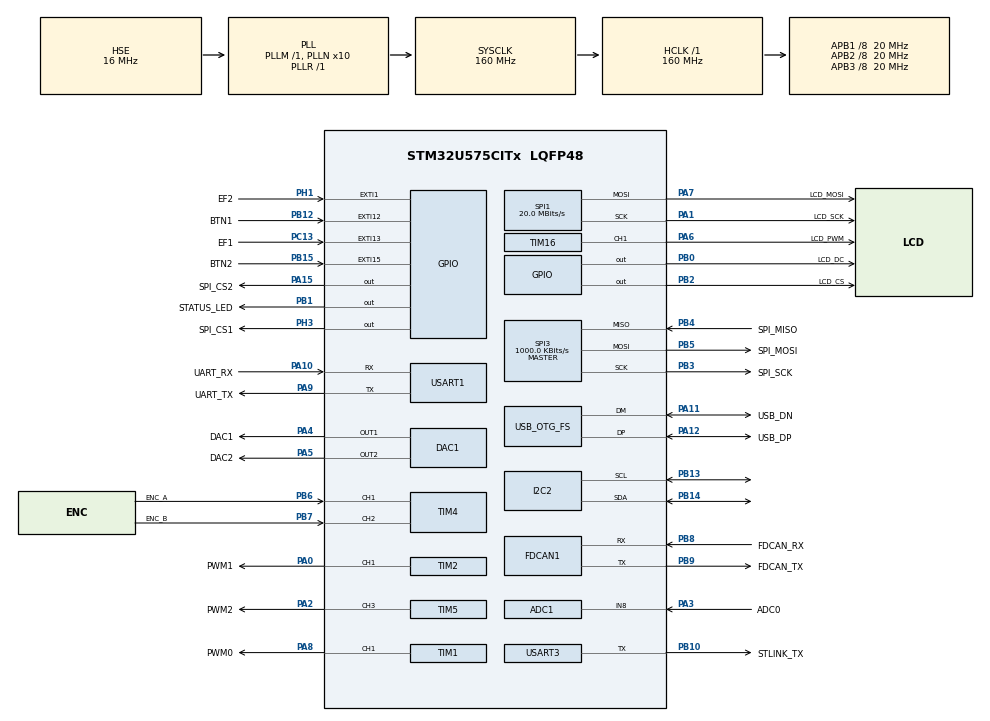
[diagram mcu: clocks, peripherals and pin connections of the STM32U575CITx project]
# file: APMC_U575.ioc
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ADC1.NbrOfConversion=1
ADC1.master=1
CORTEX_M33_NS.userName=CORTEX_M33
DAC1.DAC_Channel-DAC_OUT1=DAC_CHANNEL_1
DAC1.DAC_Channel-DAC_OUT2=DAC_CHANNEL_2
FDCAN1.CalculateBaudRateNominal=333333
FDCAN1.CalculateTimeBitNominal=3000
FDCAN1.CalculateTimeQuantumNominal=1000.0
GPDMA1.DIRECTION_GPDMACH0=DMA_MEMORY_TO_PERIPH
GPDMA1.IPHANDLE_GPDMACH0-SIMPLEREQUEST_GPDMACH0=__NULL
GPDMA1.REQUEST_GPDMACH0=GPDMA1_REQUEST_SPI3_TX
GPDMA1.SRCINC_GPDMACH0=DMA_SINC_INCREMENTED
I2C2.Timing=0x00303D5B
Mcu.Family=STM32U5
Mcu.Name=STM32U575CITx
Mcu.Package=LQFP48
Mcu.UserConstants=LvglTickTimer,$$_TIM6_IP_HANDLE_$$;LvglTaskTimer,$$_TIM7_IP_HANDLE_$$;RtcTimer,$$_RTC_IP_HANDLE_$$;LcdPwmTimer,$$_TIM16_IP_HANDLE_$$;EncoderTimer,$$_TIM4_IP_HANDLE_$$;LcdSpi,$$_SPI1_IP_HANDLE_$$;BoardSpi,$$_SPI3_IP_HANDLE_$$;Out1PwmTimer,$$_TIM2_IP_HANDLE_$$;Out2PwmTimer,$$_TIM5_IP_HANDLE_$$
NVIC.DMA2D_IRQn=true\:13\:0\:true\:false\:true\:true\:true\:true
NVIC.EXTI12_IRQn=true\:15\:0\:true\:false\:true\:true\:true\:true
NVIC.EXTI13_IRQn=true\:15\:0\:true\:false\:true\:true\:true\:true
NVIC.EXTI15_IRQn=true\:15\:0\:true\:false\:true\:true\:true\:true
NVIC.EXTI1_IRQn=true\:15\:0\:true\:false\:true\:true\:true\:true
NVIC.GPDMA1_Channel0_IRQn=true\:7\:0\:true\:false\:true\:false\:true\:true
NVIC.PriorityGroup=NVIC_PRIORITYGROUP_4
NVIC.RTC_IRQn=true\:15\:0\:true\:false\:true\:true\:true\:true
NVIC.SPI3_IRQn=true\:12\:0\:true\:false\:true\:false\:true\:true
NVIC.TIM4_IRQn=true\:15\:0\:true\:false\:true\:true\:true\:true
NVIC.TIM6_IRQn=true\:8\:0\:true\:false\:true\:true\:true\:true
NVIC.TIM7_IRQn=true\:9\:0\:true\:false\:true\:true\:true\:true
PA0.GPIO_Label=PWM1
PA0.Signal=S_TIM2_CH1
PA1.GPIO_Label=LCD_SCK
PA1.Mode=TX_Only_Simplex_Unidirect_Master
PA1.Signal=SPI1_SCK
PA10.GPIO_Label=UART_RX
PA10.Mode=Asynchronous
PA10.Signal=USART1_RX
PA11.GPIO_Label=USB_DN
PA11.Mode=Host_Only
PA11.Signal=USB_OTG_FS_DM
PA12.GPIO_Label=USB_DP
PA12.Mode=Host_Only
PA12.Signal=USB_OTG_FS_DP
PA13\ (JTMS/SWDIO).GPIO_Label=SWDIO
PA13\ (JTMS/SWDIO).Mode=Serial_Wire
PA13\ (JTMS/SWDIO).Signal=DEBUG_JTMS-SWDIO
PA14\ (JTCK/SWCLK).GPIO_Label=SWCLK
PA14\ (JTCK/SWCLK).Mode=Serial_Wire
PA14\ (JTCK/SWCLK).Signal=DEBUG_JTCK-SWCLK
PA15\ (JTDI).GPIO_Label=SPI_CS2
PA15\ (JTDI).PinState=GPIO_PIN_SET
PA15\ (JTDI).Signal=GPIO_Output
PA2.GPIO_Label=PWM2
PA2.Signal=S_TIM5_CH3
PA3.GPIO_Label=ADC0
PA3.Mode=IN8-Single-Ended
PA3.Signal=ADC1_IN8
PA4.GPIO_Label=DAC1
PA4.Signal=COMP_DAC11_group
PA5.GPIO_Label=DAC2
PA5.Signal=COMP_DAC12_group
PA6.GPIO_Label=LCD_PWM
PA6.Signal=S_TIM16_CH1
PA7.GPIO_Label=LCD_MOSI
PA7.Mode=TX_Only_Simplex_Unidirect_Master
PA7.Signal=SPI1_MOSI
PA8.GPIO_Label=PWM0
PA8.GPIO_ModeDefaultPP=GPIO_MODE_AF_OD
PA8.Signal=S_TIM1_CH1
PA9.GPIO_Label=UART_TX
PA9.Mode=Asynchronous
PA9.Signal=USART1_TX
PB0.GPIO_Label=LCD_DC
PB0.Signal=GPIO_Output
PB1.GPIO_Label=STATUS_LED
PB1.GPIO_ModeDefaultOutputPP=GPIO_MODE_OUTPUT_OD
PB1.GPIO_PuPd=GPIO_NOPULL
PB1.Signal=GPIO_Output
PB10.GPIO_Label=STLINK_TX
PB10.Mode=Half_duplex(single_wire_mode)
PB10.Signal=USART3_TX
PB12.GPIO_Label=BTN1
PB12.Signal=GPXTI12
PB13.Mode=I2C
PB13.Signal=I2C2_SCL
PB14.Mode=I2C
PB14.Signal=I2C2_SDA
PB15.GPIO_Label=BTN2
PB15.Signal=GPXTI15
PB2.GPIO_Label=LCD_CS
PB2.PinState=GPIO_PIN_SET
PB2.Signal=GPIO_Output
PB3\ (JTDO/TRACESWO).GPIO_Label=SPI_SCK
PB3\ (JTDO/TRACESWO).Mode=Full_Duplex_Master
PB3\ (JTDO/TRACESWO).Signal=SPI3_SCK
PB4\ (NJTRST).GPIO_Label=SPI_MISO
PB4\ (NJTRST).Mode=Full_Duplex_Master
PB4\ (NJTRST).Signal=SPI3_MISO
PB5.GPIO_Label=SPI_MOSI
PB5.Mode=Full_Duplex_Master
PB5.Signal=SPI3_MOSI
PB6.GPIO_Label=ENC_A
PB6.Signal=S_TIM4_CH1
PB7.GPIO_Label=ENC_B
PB7.Signal=S_TIM4_CH2
PB8.GPIO_Label=FDCAN_RX
PB8.Mode=FDCAN_Activate
PB8.Signal=FDCAN1_RX
PB9.GPIO_Label=FDCAN_TX
PB9.Mode=FDCAN_Activate
PB9.Signal=FDCAN1_TX
PC13.GPIO_Label=EF1
PC13.GPIO_ModeDefaultEXTI=GPIO_MODE_IT_FALLING
PC13.GPIO_PuPd=GPIO_PULLUP
PC13.Signal=GPXTI13
PC14-OSC32_IN\ (PC14).GPIO_Label=OCS32_A
PC14-OSC32_IN\ (PC14).Mode=LSE-External-Oscillator
PC14-OSC32_IN\ (PC14).Signal=RCC_OSC32_IN
PC15-OSC32_OUT\ (PC15).GPIO_Label=OSC32_B
PC15-OSC32_OUT\ (PC15).Mode=LSE-External-Oscillator
PC15-OSC32_OUT\ (PC15).Signal=RCC_OSC32_OUT
PH0-OSC_IN\ (PH0).GPIO_Label=OSC16
PH0-OSC_IN\ (PH0).Mode=HSE-DIG-External-Clock-Source
PH0-OSC_IN\ (PH0).Signal=RCC_OSC_IN
PH1-OSC_OUT\ (PH1).GPIO_Label=EF2
PH1-OSC_OUT\ (PH1).GPIO_ModeDefaultEXTI=GPIO_MODE_IT_FALLING
PH1-OSC_OUT\ (PH1).GPIO_PuPd=GPIO_PULLUP
PH1-OSC_OUT\ (PH1).Signal=GPXTI1
PH3-BOOT0.GPIO_Label=SPI_CS1
PH3-BOOT0.PinState=GPIO_PIN_SET
PH3-BOOT0.Signal=GPIO_Output
ProjectManager.HeapSize=0x400
ProjectManager.StackSize=0x400
ProjectManager.TargetToolchain=STM32CubeIDE
RCC.ADCCLockSelection=RCC_ADCDACCLKSOURCE_HSE
RCC.ADCFreq_Value=16000000
RCC.AHBFreq_Value=160000000
RCC.APB1CLKDivider=RCC_HCLK_DIV8
RCC.APB1Freq_Value=20000000
RCC.APB1TimFreq_Value=40000000
RCC.APB2CLKDivider=RCC_HCLK_DIV8
RCC.APB2Freq_Value=20000000
RCC.APB2TimFreq_Value=40000000
RCC.APB3CLKDivider=RCC_HCLK_DIV8
RCC.APB3Freq_Value=20000000
RCC.CortexFreq_Value=20000000
RCC.Cortex_Div=SYSTICK_CLKSOURCE_HCLK_DIV8
RCC.DACCLockSelectionVirtual=RCC_DAC1CLKSOURCE_LSE
RCC.EPOD_VALUE=16000000
RCC.HCLKFreq_Value=160000000
RCC.HSE_VALUE=16000000
RCC.HSI48_VALUE=48000000
RCC.HSI_VALUE=16000000
RCC.I2C1CLockSelection=RCC_I2C1CLKSOURCE_HSI
RCC.I2C2CLockSelection=RCC_I2C2CLKSOURCE_HSI
RCC.LSE_Drive_Capability=RCC_LSEDRIVE_MEDIUMLOW
RCC.LSIDIV_VALUE=32000
RCC.MSIClockRange=RCC_MSIRANGE_0
RCC.MSI_VALUE=48000000
RCC.PLL1Q=10
RCC.PLL1R=1
RCC.PLL2N=4
RCC.PLL2P=4
RCC.PLL2Q=4
RCC.PLL2R=4
RCC.PLL2Source=RCC_PLLSOURCE_HSI
RCC.PLL3Source=RCC_PLLSOURCE_HSI
RCC.PLLFRACN=0
RCC.PLLN=10
RCC.PLLSourceVirtual=RCC_PLLSOURCE_HSE
RCC.RTCClockSelection=RCC_RTCCLKSOURCE_LSE
RCC.SPI3CLockSelection=RCC_SPI3CLKSOURCE_HSI
RCC.SYSCLKFreq_VALUE=160000000
RCC.SYSCLKSource=RCC_SYSCLKSOURCE_PLLCLK
RCC.USART1CLockSelectionVirtual=RCC_USART1CLKSOURCE_HSI
RCC.USART3CLockSelectionVirtual=RCC_USART3CLKSOURCE_HSI
RCC.USBFreq_Value=48000000
RCC.VCOOutputFreq_Value=160000000
RTC.Alarm-Alarm\ A=RTC_ALARM_A
RTC.AlarmMaskDateWeekDay-Alarm\ A=RTC_ALARMMASK_DATEWEEKDAY
RTC.AlarmMaskHours-Alarm\ A=RTC_ALARMMASK_HOURS
RTC.AlarmMaskMinutes-Alarm\ A=RTC_ALARMMASK_MINUTES
RTC.AlarmMaskSeconds-Alarm\ A=RTC_ALARMMASK_SECONDS
RTC.AlarmSubSecondMask-Alarm\ A=RTC_ALARMSUBSECONDMASK_NONE
SH.COMP_DAC11_group.0=DAC1_OUT1,DAC_OUT1
SH.COMP_DAC12_group.0=DAC1_OUT2,DAC_OUT2
SH.S_TIM16_CH1.0=TIM16_CH1,PWM Generation1 CH1
SH.S_TIM1_CH1.0=TIM1_CH1,PWM Generation1 CH1
SH.S_TIM2_CH1.0=TIM2_CH1,PWM Generation1 CH1
SH.S_TIM4_CH1.0=TIM4_CH1,Encoder_Interface
SH.S_TIM4_CH2.0=TIM4_CH2,Encoder_Interface
SH.S_TIM5_CH3.0=TIM5_CH3,PWM Generation3 CH3
SPI1.BaudRatePrescaler=SPI_BAUDRATEPRESCALER_8
SPI1.CalculateBaudRate=20.0 MBits/s
SPI1.DataSize=SPI_DATASIZE_8BIT
SPI1.Direction=SPI_DIRECTION_2LINES_TXONLY
SPI1.Mode=SPI_MODE_MASTER
SPI1.VirtualType=VM_MASTER
SPI3.BaudRatePrescaler=SPI_BAUDRATEPRESCALER_16
SPI3.CLKPhase=SPI_PHASE_1EDGE
SPI3.CalculateBaudRate=1000.0 KBits/s
SPI3.Direction=SPI_DIRECTION_2LINES
SPI3.Mode=SPI_MODE_MASTER
SPI3.NSSPMode=SPI_NSS_PULSE_DISABLE
SPI3.VirtualType=VM_MASTER
TIM1.Channel-PWM\ Generation1\ CH1=TIM_CHANNEL_1
TIM1.OCPolarity_1=TIM_OCPOLARITY_LOW
TIM1.Prescaler=16000
TIM16.Channel=TIM_CHANNEL_1
TIM2.Channel-PWM\ Generation1\ CH1=TIM_CHANNEL_1
TIM4.EncoderMode=TIM_ENCODERMODE_X1_TI1
TIM4.IC1Filter=15
TIM4.IC2Filter=15
TIM5.Channel-PWM\ Generation3\ CH3=TIM_CHANNEL_3
TIM6.PeriodNoDither=100
TIM6.Prescaler=1600
TIM7.PeriodNoDither=100
TIM7.Prescaler=1600
USART1.VirtualMode-Asynchronous=VM_ASYNC
USART3.Mode=MODE_TX
USART3.VirtualMode-Half_duplex(single_wire_mode)=VM_ASYNC
USB_OTG_FS.VirtualMode=Host_Only
USB_OTG_FS.phy_itface=HCD_PHY_EMBEDDED
VP_DCACHE1_VS_DCACHE.Mode=DCACHE_Activate
VP_DMA2D_VS_DMA2D.Mode=DMA2D_Activate
VP_GPDMA1_VS_GPDMACH0.Mode=SIMPLEREQUEST_GPDMACH0
VP_ICACHE_VS_ICACHE.Mode=DefaultMode
VP_LPBAMQUEUE_VS_QUEUE.Mode=QUEUEMODE
VP_LPBAM_VS_SIG1.Mode=SmartRun
VP_LPBAM_VS_SIG4.Mode=LPDMA1
VP_MEMORYMAP_VS_MEMORYMAP.Mode=CurAppReg
VP_PWR_VS_SECSignals.Mode=Security/Privilege
VP_PWR_Vdda.Mode=isolationVdda
VP_RTC_VS_RTC_Activate.Mode=RTC_Enabled
VP_RTC_VS_RTC_Alarm_A_Intern.Mode=Alarm A
VP_RTC_VS_RTC_Calendar.Mode=RTC_Calendar
VP_TIM16_VS_ClockSourceINT.Mode=Enable_Timer
VP_TIM6_VS_ClockSourceINT.Mode=Enable_Timer
VP_TIM7_VS_ClockSourceINT.Mode=Enable_Timer
board=custom

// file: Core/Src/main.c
/* USER CODE BEGIN Header */
/**
  ******************************************************************************
  * @file           : main.c
  * @brief          : Main program body
  ******************************************************************************
  * @attention
  *
  * Copyright (c) 2026 STMicroelectronics.
  * All rights reserved.
  *
  * This software is licensed under terms that can be found in the LICENSE file
  * in the root directory of this software component.
  * If no LICENSE file comes with this software, it is provided AS-IS.
  *
  ******************************************************************************
  */
/* USER CODE END Header */
#include "main.h"

/* USER CODE BEGIN Includes */
#include "stdio.h"
#include "terminal_colors.h"
#include "master.h"
/* USER CODE END Includes */

ADC_HandleTypeDef hadc1;

DAC_HandleTypeDef hdac1;

DCACHE_HandleTypeDef hdcache1;

DMA2D_HandleTypeDef hdma2d;

FDCAN_HandleTypeDef hfdcan1;

I2C_HandleTypeDef hi2c2;

RTC_HandleTypeDef hrtc;

SPI_HandleTypeDef hspi1;
SPI_HandleTypeDef hspi3;
DMA_HandleTypeDef handle_GPDMA1_Channel0;

TIM_HandleTypeDef htim1;
TIM_HandleTypeDef htim2;
TIM_HandleTypeDef htim4;
TIM_HandleTypeDef htim5;
TIM_HandleTypeDef htim6;
TIM_HandleTypeDef htim7;
TIM_HandleTypeDef htim16;

UART_HandleTypeDef huart1;
UART_HandleTypeDef huart3;

HCD_HandleTypeDef hhcd_USB_OTG_FS;

void SystemClock_Config(void);
static void MX_GPIO_Init(void);
static void MX_GPDMA1_Init(void);
static void MX_FDCAN1_Init(void);
static void MX_USART1_UART_Init(void);
static void MX_USB_OTG_FS_HCD_Init(void);
static void MX_TIM5_Init(void);
static void MX_SPI3_Init(void);
static void MX_ICACHE_Init(void);
static void MX_RTC_Init(void);
static void MX_DAC1_Init(void);
static void MX_ADC1_Init(void);
static void MX_I2C2_Init(void);
static void MX_SPI1_Init(void);
static void MX_TIM2_Init(void);
static void MX_TIM4_Init(void);
static void MX_TIM16_Init(void);
static void MX_USART3_UART_Init(void);
static void MX_DCACHE1_Init(void);
static void MX_DMA2D_Init(void);
static void MX_TIM1_Init(void);
static void MX_TIM6_Init(void);
static void MX_TIM7_Init(void);

/* USER CODE BEGIN 0 */
#ifdef __GNUC__
#define PUTCHAR_PROTOTYPE int __io_putchar(int ch)
#else
#define PUTCHAR_PROTOTYPE int fputc(int ch, FILE *f)
#endif

PUTCHAR_PROTOTYPE {
	HAL_StatusTypeDef status = HAL_UART_Transmit(&huart3, (uint8_t *)&ch, 1, HAL_MAX_DELAY);
  if (status != HAL_OK) {
    printf("\n");
  }
	return ch;
}
/* USER CODE END 0 */

int main(void)
{

  /* USER CODE BEGIN 1 */
  PreInit();
  /* USER CODE END 1 */

  /* MCU Configuration--------------------------------------------------------*/

  /* Reset of all peripherals, Initializes the Flash interface and the Systick. */
  HAL_Init();

  /* USER CODE BEGIN Init */
  Init();
  /* USER CODE END Init */

  /* Configure the system clock */
  SystemClock_Config();

  /* USER CODE BEGIN SysInit */
  SysInit();
  /* USER CODE END SysInit */

  /* Initialize all configured peripherals */
  MX_GPIO_Init();
  MX_GPDMA1_Init();
  MX_FDCAN1_Init();
  MX_USART1_UART_Init();
  MX_USB_OTG_FS_HCD_Init();
  MX_TIM5_Init();
  MX_SPI3_Init();
  MX_ICACHE_Init();
  MX_RTC_Init();
  MX_DAC1_Init();
  MX_ADC1_Init();
  MX_I2C2_Init();
  MX_SPI1_Init();
  MX_TIM2_Init();
  MX_TIM4_Init();
  MX_TIM16_Init();
  MX_USART3_UART_Init();
  MX_DCACHE1_Init();
  MX_DMA2D_Init();
  MX_TIM1_Init();
  MX_TIM6_Init();
  MX_TIM7_Init();
  /* USER CODE BEGIN 2 */
  PostInit();
  /* USER CODE END 2 */

  /* Infinite loop */
  /* USER CODE BEGIN WHILE */
  while (1)
  {
    MainLoop();
    /* USER CODE END WHILE */

  }
}

void SystemClock_Config(void)
{
  RCC_OscInitTypeDef RCC_OscInitStruct = {0};
  RCC_ClkInitTypeDef RCC_ClkInitStruct = {0};

  /** Configure the main internal regulator output voltage
  */
  if (HAL_PWREx_ControlVoltageScaling(PWR_REGULATOR_VOLTAGE_SCALE1) != HAL_OK)
  {
    Error_Handler();
  }

  /** Configure LSE Drive Capability
  */
  HAL_PWR_EnableBkUpAccess();
  __HAL_RCC_LSEDRIVE_CONFIG(RCC_LSEDRIVE_MEDIUMLOW);

  /** Initializes the CPU, AHB and APB buses clocks
  */
  RCC_OscInitStruct.OscillatorType = RCC_OSCILLATORTYPE_HSI48|RCC_OSCILLATORTYPE_HSI
                              |RCC_OSCILLATORTYPE_HSE|RCC_OSCILLATORTYPE_LSE;
  RCC_OscInitStruct.HSEState = RCC_HSE_BYPASS_DIGITAL;
  RCC_OscInitStruct.LSEState = RCC_LSE_ON;
  RCC_OscInitStruct.HSIState = RCC_HSI_ON;
  RCC_OscInitStruct.HSI48State = RCC_HSI48_ON;
  RCC_OscInitStruct.HSICalibrationValue = RCC_HSICALIBRATION_DEFAULT;
  RCC_OscInitStruct.PLL.PLLState = RCC_PLL_ON;
  RCC_OscInitStruct.PLL.PLLSource = RCC_PLLSOURCE_HSE;
  RCC_OscInitStruct.PLL.PLLMBOOST = RCC_PLLMBOOST_DIV1;
  RCC_OscInitStruct.PLL.PLLM = 1;
  RCC_OscInitStruct.PLL.PLLN = 10;
  RCC_OscInitStruct.PLL.PLLP = 2;
  RCC_OscInitStruct.PLL.PLLQ = 10;
  RCC_OscInitStruct.PLL.PLLR = 1;
  RCC_OscInitStruct.PLL.PLLRGE = RCC_PLLVCIRANGE_1;
  RCC_OscInitStruct.PLL.PLLFRACN = 0;
  if (HAL_RCC_OscConfig(&RCC_OscInitStruct) != HAL_OK)
  {
    Error_Handler();
  }

  /** Initializes the CPU, AHB and APB buses clocks
  */
  RCC_ClkInitStruct.ClockType = RCC_CLOCKTYPE_HCLK|RCC_CLOCKTYPE_SYSCLK
                              |RCC_CLOCKTYPE_PCLK1|RCC_CLOCKTYPE_PCLK2
                              |RCC_CLOCKTYPE_PCLK3;
  RCC_ClkInitStruct.SYSCLKSource = RCC_SYSCLKSOURCE_PLLCLK;
  RCC_ClkInitStruct.AHBCLKDivider = RCC_SYSCLK_DIV1;
  RCC_ClkInitStruct.APB1CLKDivider = RCC_HCLK_DIV8;
  RCC_ClkInitStruct.APB2CLKDivider = RCC_HCLK_DIV8;
  RCC_ClkInitStruct.APB3CLKDivider = RCC_HCLK_DIV8;

  if (HAL_RCC_ClockConfig(&RCC_ClkInitStruct, FLASH_LATENCY_4) != HAL_OK)
  {
    Error_Handler();
  }
}

static void MX_ADC1_Init(void)
{

  /** Common config
  */
  hadc1.Instance = ADC1;
  hadc1.Init.ClockPrescaler = ADC_CLOCK_ASYNC_DIV1;
  hadc1.Init.Resolution = ADC_RESOLUTION_14B;
  hadc1.Init.GainCompensation = 0;
  hadc1.Init.ScanConvMode = ADC_SCAN_DISABLE;
  hadc1.Init.EOCSelection = ADC_EOC_SINGLE_CONV;
  hadc1.Init.LowPowerAutoWait = DISABLE;
  hadc1.Init.ContinuousConvMode = DISABLE;
  hadc1.Init.NbrOfConversion = 1;
  hadc1.Init.DiscontinuousConvMode = DISABLE;
  hadc1.Init.DMAContinuousRequests = DISABLE;
  hadc1.Init.TriggerFrequencyMode = ADC_TRIGGER_FREQ_HIGH;
  hadc1.Init.Overrun = ADC_OVR_DATA_PRESERVED;
  hadc1.Init.LeftBitShift = ADC_LEFTBITSHIFT_NONE;
  hadc1.Init.ConversionDataManagement = ADC_CONVERSIONDATA_DR;
  hadc1.Init.OversamplingMode = DISABLE;
  if (HAL_ADC_Init(&hadc1) != HAL_OK)
  {
    Error_Handler();
  }

}

static void MX_DAC1_Init(void)
{

  DAC_ChannelConfTypeDef sConfig = {0};
  DAC_AutonomousModeConfTypeDef sAutonomousMode = {0};

  /** DAC Initialization
  */
  hdac1.Instance = DAC1;
  if (HAL_DAC_Init(&hdac1) != HAL_OK)
  {
    Error_Handler();
  }

  /** DAC channel OUT1 config
  */
  sConfig.DAC_HighFrequency = DAC_HIGH_FREQUENCY_INTERFACE_MODE_DISABLE;
  sConfig.DAC_DMADoubleDataMode = DISABLE;
  sConfig.DAC_SignedFormat = DISABLE;
  sConfig.DAC_SampleAndHold = DAC_SAMPLEANDHOLD_DISABLE;
  sConfig.DAC_Trigger = DAC_TRIGGER_NONE;
  sConfig.DAC_OutputBuffer = DAC_OUTPUTBUFFER_DISABLE;
  sConfig.DAC_ConnectOnChipPeripheral = DAC_CHIPCONNECT_EXTERNAL;
  sConfig.DAC_UserTrimming = DAC_TRIMMING_FACTORY;
  if (HAL_DAC_ConfigChannel(&hdac1, &sConfig, DAC_CHANNEL_1) != HAL_OK)
  {
    Error_Handler();
  }

  /** Configure Autonomous Mode
  */
  sAutonomousMode.AutonomousModeState = DAC_AUTONOMOUS_MODE_DISABLE;
  if (HAL_DACEx_SetConfigAutonomousMode(&hdac1, &sAutonomousMode) != HAL_OK)
  {
    Error_Handler();
  }

  /** DAC channel OUT2 config
  */
  if (HAL_DAC_ConfigChannel(&hdac1, &sConfig, DAC_CHANNEL_2) != HAL_OK)
  {
    Error_Handler();
  }

}

static void MX_DCACHE1_Init(void)
{

  hdcache1.Instance = DCACHE1;
  hdcache1.Init.ReadBurstType = DCACHE_READ_BURST_WRAP;
  if (HAL_DCACHE_Init(&hdcache1) != HAL_OK)
  {
    Error_Handler();
  }

}

static void MX_DMA2D_Init(void)
{

  hdma2d.Instance = DMA2D;
  hdma2d.Init.Mode = DMA2D_M2M;
  hdma2d.Init.ColorMode = DMA2D_OUTPUT_ARGB8888;
  hdma2d.Init.OutputOffset = 0;
  hdma2d.Init.BytesSwap = DMA2D_BYTES_REGULAR;
  hdma2d.Init.LineOffsetMode = DMA2D_LOM_PIXELS;
  hdma2d.LayerCfg[1].InputOffset = 0;
  hdma2d.LayerCfg[1].InputColorMode = DMA2D_INPUT_ARGB8888;
  hdma2d.LayerCfg[1].AlphaMode = DMA2D_NO_MODIF_ALPHA;
  hdma2d.LayerCfg[1].InputAlpha = 0;
  hdma2d.LayerCfg[1].AlphaInverted = DMA2D_REGULAR_ALPHA;
  hdma2d.LayerCfg[1].RedBlueSwap = DMA2D_RB_REGULAR;
  if (HAL_DMA2D_Init(&hdma2d) != HAL_OK)
  {
    Error_Handler();
  }
  if (HAL_DMA2D_ConfigLayer(&hdma2d, 1) != HAL_OK)
  {
    Error_Handler();
  }

}

static void MX_FDCAN1_Init(void)
{

  hfdcan1.Instance = FDCAN1;
  hfdcan1.Init.ClockDivider = FDCAN_CLOCK_DIV1;
  hfdcan1.Init.FrameFormat = FDCAN_FRAME_CLASSIC;
  hfdcan1.Init.Mode = FDCAN_MODE_NORMAL;
  hfdcan1.Init.AutoRetransmission = DISABLE;
  hfdcan1.Init.TransmitPause = DISABLE;
  hfdcan1.Init.ProtocolException = DISABLE;
  hfdcan1.Init.NominalPrescaler = 16;
  hfdcan1.Init.NominalSyncJumpWidth = 1;
  hfdcan1.Init.NominalTimeSeg1 = 1;
  hfdcan1.Init.NominalTimeSeg2 = 1;
  hfdcan1.Init.DataPrescaler = 1;
  hfdcan1.Init.DataSyncJumpWidth = 1;
  hfdcan1.Init.DataTimeSeg1 = 1;
  hfdcan1.Init.DataTimeSeg2 = 1;
  hfdcan1.Init.StdFiltersNbr = 0;
  hfdcan1.Init.ExtFiltersNbr = 0;
  hfdcan1.Init.TxFifoQueueMode = FDCAN_TX_FIFO_OPERATION;
  if (HAL_FDCAN_Init(&hfdcan1) != HAL_OK)
  {
    Error_Handler();
  }

}

static void MX_GPDMA1_Init(void)
{

  /* Peripheral clock enable */
  __HAL_RCC_GPDMA1_CLK_ENABLE();

  /* GPDMA1 interrupt Init */
    HAL_NVIC_SetPriority(GPDMA1_Channel0_IRQn, 7, 0);
    HAL_NVIC_EnableIRQ(GPDMA1_Channel0_IRQn);

}

static void MX_I2C2_Init(void)
{

  hi2c2.Instance = I2C2;
  hi2c2.Init.Timing = 0x00303D5B;
  hi2c2.Init.OwnAddress1 = 0;
  hi2c2.Init.AddressingMode = I2C_ADDRESSINGMODE_7BIT;
  hi2c2.Init.DualAddressMode = I2C_DUALADDRESS_DISABLE;
  hi2c2.Init.OwnAddress2 = 0;
  hi2c2.Init.OwnAddress2Masks = I2C_OA2_NOMASK;
  hi2c2.Init.GeneralCallMode = I2C_GENERALCALL_DISABLE;
  hi2c2.Init.NoStretchMode = I2C_NOSTRETCH_DISABLE;
  if (HAL_I2C_Init(&hi2c2) != HAL_OK)
  {
    Error_Handler();
  }

  /** Configure Analogue filter
  */
  if (HAL_I2CEx_ConfigAnalogFilter(&hi2c2, I2C_ANALOGFILTER_ENABLE) != HAL_OK)
  {
    Error_Handler();
  }

  /** Configure Digital filter
  */
  if (HAL_I2CEx_ConfigDigitalFilter(&hi2c2, 0) != HAL_OK)
  {
    Error_Handler();
  }

}

static void MX_ICACHE_Init(void)
{

  /** Enable instruction cache (default 2-ways set associative cache)
  */
  if (HAL_ICACHE_Enable() != HAL_OK)
  {
    Error_Handler();
  }

}

static void MX_RTC_Init(void)
{

  RTC_PrivilegeStateTypeDef privilegeState = {0};
  RTC_TimeTypeDef sTime = {0};
  RTC_DateTypeDef sDate = {0};
  RTC_AlarmTypeDef sAlarm = {0};

  /** Initialize RTC Only
  */
  hrtc.Instance = RTC;
  hrtc.Init.HourFormat = RTC_HOURFORMAT_24;
  hrtc.Init.AsynchPrediv = 127;
  hrtc.Init.SynchPrediv = 255;
  hrtc.Init.OutPut = RTC_OUTPUT_DISABLE;
  hrtc.Init.OutPutRemap = RTC_OUTPUT_REMAP_NONE;
  hrtc.Init.OutPutPolarity = RTC_OUTPUT_POLARITY_HIGH;
  hrtc.Init.OutPutType = RTC_OUTPUT_TYPE_OPENDRAIN;
  hrtc.Init.OutPutPullUp = RTC_OUTPUT_PULLUP_NONE;
  hrtc.Init.BinMode = RTC_BINARY_NONE;
  if (HAL_RTC_Init(&hrtc) != HAL_OK)
  {
    Error_Handler();
  }
  privilegeState.rtcPrivilegeFull = RTC_PRIVILEGE_FULL_NO;
  privilegeState.backupRegisterPrivZone = RTC_PRIVILEGE_BKUP_ZONE_NONE;
  privilegeState.backupRegisterStartZone2 = RTC_BKP_DR0;
  privilegeState.backupRegisterStartZone3 = RTC_BKP_DR0;
  if (HAL_RTCEx_PrivilegeModeSet(&hrtc, &privilegeState) != HAL_OK)
  {
    Error_Handler();
  }

  /* USER CODE BEGIN Check_RTC_BKUP */
 goto skip_date_time_set;
  /* USER CODE END Check_RTC_BKUP */

  /** Initialize RTC and set the Time and Date
  */
  sTime.Hours = 0x0;
  sTime.Minutes = 0x0;
  sTime.Seconds = 0x0;
  sTime.DayLightSaving = RTC_DAYLIGHTSAVING_NONE;
  sTime.StoreOperation = RTC_STOREOPERATION_RESET;
  if (HAL_RTC_SetTime(&hrtc, &sTime, RTC_FORMAT_BCD) != HAL_OK)
  {
    Error_Handler();
  }
  sDate.WeekDay = RTC_WEEKDAY_MONDAY;
  sDate.Month = RTC_MONTH_JANUARY;
  sDate.Date = 0x1;
  sDate.Year = 0x0;

  if (HAL_RTC_SetDate(&hrtc, &sDate, RTC_FORMAT_BCD) != HAL_OK)
  {
    Error_Handler();
  }
  skip_date_time_set:
  /** Enable the Alarm A
  */
  sAlarm.AlarmTime.Hours = 0x0;
  sAlarm.AlarmTime.Minutes = 0x0;
  sAlarm.AlarmTime.Seconds = 0x0;
  sAlarm.AlarmTime.SubSeconds = 0x0;
  sAlarm.AlarmMask = RTC_ALARMMASK_ALL;
  sAlarm.AlarmSubSecondMask = RTC_ALARMSUBSECONDMASK_NONE;
  sAlarm.AlarmDateWeekDaySel = RTC_ALARMDATEWEEKDAYSEL_DATE;
  sAlarm.AlarmDateWeekDay = 0x1;
  sAlarm.Alarm = RTC_ALARM_A;
  if (HAL_RTC_SetAlarm_IT(&hrtc, &sAlarm, RTC_FORMAT_BCD) != HAL_OK)
  {
    Error_Handler();
  }

}

static void MX_SPI1_Init(void)
{

  SPI_AutonomousModeConfTypeDef HAL_SPI_AutonomousMode_Cfg_Struct = {0};

  /* SPI1 parameter configuration*/
  hspi1.Instance = SPI1;
  hspi1.Init.Mode = SPI_MODE_MASTER;
  hspi1.Init.Direction = SPI_DIRECTION_2LINES_TXONLY;
  hspi1.Init.DataSize = SPI_DATASIZE_8BIT;
  hspi1.Init.CLKPolarity = SPI_POLARITY_LOW;
  hspi1.Init.CLKPhase = SPI_PHASE_1EDGE;
  hspi1.Init.NSS = SPI_NSS_SOFT;
  hspi1.Init.BaudRatePrescaler = SPI_BAUDRATEPRESCALER_8;
  hspi1.Init.FirstBit = SPI_FIRSTBIT_MSB;
  hspi1.Init.TIMode = SPI_TIMODE_DISABLE;
  hspi1.Init.CRCCalculation = SPI_CRCCALCULATION_DISABLE;
  hspi1.Init.CRCPolynomial = 0x7;
  hspi1.Init.NSSPMode = SPI_NSS_PULSE_ENABLE;
  hspi1.Init.NSSPolarity = SPI_NSS_POLARITY_LOW;
  hspi1.Init.FifoThreshold = SPI_FIFO_THRESHOLD_01DATA;
  hspi1.Init.MasterSSIdleness = SPI_MASTER_SS_IDLENESS_00CYCLE;
  hspi1.Init.MasterInterDataIdleness = SPI_MASTER_INTERDATA_IDLENESS_00CYCLE;
  hspi1.Init.MasterReceiverAutoSusp = SPI_MASTER_RX_AUTOSUSP_DISABLE;
  hspi1.Init.MasterKeepIOState = SPI_MASTER_KEEP_IO_STATE_DISABLE;
  hspi1.Init.IOSwap = SPI_IO_SWAP_DISABLE;
  hspi1.Init.ReadyMasterManagement = SPI_RDY_MASTER_MANAGEMENT_INTERNALLY;
  hspi1.Init.ReadyPolarity = SPI_RDY_POLARITY_HIGH;
  if (HAL_SPI_Init(&hspi1) != HAL_OK)
  {
    Error_Handler();
  }
  HAL_SPI_AutonomousMode_Cfg_Struct.TriggerState = SPI_AUTO_MODE_DISABLE;
  HAL_SPI_AutonomousMode_Cfg_Struct.TriggerSelection = SPI_GRP1_GPDMA_CH0_TCF_TRG;
  HAL_SPI_AutonomousMode_Cfg_Struct.TriggerPolarity = SPI_TRIG_POLARITY_RISING;
  if (HAL_SPIEx_SetConfigAutonomousMode(&hspi1, &HAL_SPI_AutonomousMode_Cfg_Struct) != HAL_OK)
  {
    Error_Handler();
  }

}

static void MX_SPI3_Init(void)
{

  SPI_AutonomousModeConfTypeDef HAL_SPI_AutonomousMode_Cfg_Struct = {0};

  /* SPI3 parameter configuration*/
  hspi3.Instance = SPI3;
  hspi3.Init.Mode = SPI_MODE_MASTER;
  hspi3.Init.Direction = SPI_DIRECTION_2LINES;
  hspi3.Init.DataSize = SPI_DATASIZE_8BIT;
  hspi3.Init.CLKPolarity = SPI_POLARITY_LOW;
  hspi3.Init.CLKPhase = SPI_PHASE_1EDGE;
  hspi3.Init.NSS = SPI_NSS_SOFT;
  hspi3.Init.BaudRatePrescaler = SPI_BAUDRATEPRESCALER_16;
  hspi3.Init.FirstBit = SPI_FIRSTBIT_MSB;
  hspi3.Init.TIMode = SPI_TIMODE_DISABLE;
  hspi3.Init.CRCCalculation = SPI_CRCCALCULATION_DISABLE;
  hspi3.Init.CRCPolynomial = 0x7;
  hspi3.Init.NSSPMode = SPI_NSS_PULSE_DISABLE;
  hspi3.Init.NSSPolarity = SPI_NSS_POLARITY_LOW;
  hspi3.Init.FifoThreshold = SPI_FIFO_THRESHOLD_01DATA;
  hspi3.Init.MasterSSIdleness = SPI_MASTER_SS_IDLENESS_00CYCLE;
  hspi3.Init.MasterInterDataIdleness = SPI_MASTER_INTERDATA_IDLENESS_00CYCLE;
  hspi3.Init.MasterReceiverAutoSusp = SPI_MASTER_RX_AUTOSUSP_DISABLE;
  hspi3.Init.MasterKeepIOState = SPI_MASTER_KEEP_IO_STATE_DISABLE;
  hspi3.Init.IOSwap = SPI_IO_SWAP_DISABLE;
  hspi3.Init.ReadyMasterManagement = SPI_RDY_MASTER_MANAGEMENT_INTERNALLY;
  hspi3.Init.ReadyPolarity = SPI_RDY_POLARITY_HIGH;
  if (HAL_SPI_Init(&hspi3) != HAL_OK)
  {
    Error_Handler();
  }
  HAL_SPI_AutonomousMode_Cfg_Struct.TriggerState = SPI_AUTO_MODE_DISABLE;
  HAL_SPI_AutonomousMode_Cfg_Struct.TriggerSelection = SPI_GRP2_LPDMA_CH0_TCF_TRG;
  HAL_SPI_AutonomousMode_Cfg_Struct.TriggerPolarity = SPI_TRIG_POLARITY_RISING;
  if (HAL_SPIEx_SetConfigAutonomousMode(&hspi3, &HAL_SPI_AutonomousMode_Cfg_Struct) != HAL_OK)
  {
    Error_Handler();
  }

}

static void MX_TIM1_Init(void)
{

  TIM_MasterConfigTypeDef sMasterConfig = {0};
  TIM_OC_InitTypeDef sConfigOC = {0};
  TIM_BreakDeadTimeConfigTypeDef sBreakDeadTimeConfig = {0};

  htim1.Instance = TIM1;
  htim1.Init.Prescaler = 16000;
  htim1.Init.CounterMode = TIM_COUNTERMODE_UP;
  htim1.Init.Period = 65535;
  htim1.Init.ClockDivision = TIM_CLOCKDIVISION_DIV1;
  htim1.Init.RepetitionCounter = 0;
  htim1.Init.AutoReloadPreload = TIM_AUTORELOAD_PRELOAD_DISABLE;
  if (HAL_TIM_PWM_Init(&htim1) != HAL_OK)
  {
    Error_Handler();
  }
  sMasterConfig.MasterOutputTrigger = TIM_TRGO_RESET;
  sMasterConfig.MasterOutputTrigger2 = TIM_TRGO2_RESET;
  sMasterConfig.MasterSlaveMode = TIM_MASTERSLAVEMODE_DISABLE;
  if (HAL_TIMEx_MasterConfigSynchronization(&htim1, &sMasterConfig) != HAL_OK)
  {
    Error_Handler();
  }
  sConfigOC.OCMode = TIM_OCMODE_PWM1;
  sConfigOC.Pulse = 0;
  sConfigOC.OCPolarity = TIM_OCPOLARITY_LOW;
  sConfigOC.OCNPolarity = TIM_OCNPOLARITY_HIGH;
  sConfigOC.OCFastMode = TIM_OCFAST_DISABLE;
  sConfigOC.OCIdleState = TIM_OCIDLESTATE_RESET;
  sConfigOC.OCNIdleState = TIM_OCNIDLESTATE_RESET;
  if (HAL_TIM_PWM_ConfigChannel(&htim1, &sConfigOC, TIM_CHANNEL_1) != HAL_OK)
  {
    Error_Handler();
  }
  sBreakDeadTimeConfig.OffStateRunMode = TIM_OSSR_DISABLE;
  sBreakDeadTimeConfig.OffStateIDLEMode = TIM_OSSI_DISABLE;
  sBreakDeadTimeConfig.LockLevel = TIM_LOCKLEVEL_OFF;
  sBreakDeadTimeConfig.DeadTime = 0;
  sBreakDeadTimeConfig.BreakState = TIM_BREAK_DISABLE;
  sBreakDeadTimeConfig.BreakPolarity = TIM_BREAKPOLARITY_HIGH;
  sBreakDeadTimeConfig.BreakFilter = 0;
  sBreakDeadTimeConfig.BreakAFMode = TIM_BREAK_AFMODE_INPUT;
  sBreakDeadTimeConfig.Break2State = TIM_BREAK2_DISABLE;
  sBreakDeadTimeConfig.Break2Polarity = TIM_BREAK2POLARITY_HIGH;
  sBreakDeadTimeConfig.Break2Filter = 0;
  sBreakDeadTimeConfig.Break2AFMode = TIM_BREAK_AFMODE_INPUT;
  sBreakDeadTimeConfig.AutomaticOutput = TIM_AUTOMATICOUTPUT_DISABLE;
  if (HAL_TIMEx_ConfigBreakDeadTime(&htim1, &sBreakDeadTimeConfig) != HAL_OK)
  {
    Error_Handler();
  }
  HAL_TIM_MspPostInit(&htim1);

}

static void MX_TIM2_Init(void)
{

  TIM_MasterConfigTypeDef sMasterConfig = {0};
  TIM_OC_InitTypeDef sConfigOC = {0};

  htim2.Instance = TIM2;
  htim2.Init.Prescaler = 0;
  htim2.Init.CounterMode = TIM_COUNTERMODE_UP;
  htim2.Init.Period = 4294967295;
  htim2.Init.ClockDivision = TIM_CLOCKDIVISION_DIV1;
  htim2.Init.AutoReloadPreload = TIM_AUTORELOAD_PRELOAD_DISABLE;
  if (HAL_TIM_PWM_Init(&htim2) != HAL_OK)
  {
    Error_Handler();
  }
  sMasterConfig.MasterOutputTrigger = TIM_TRGO_RESET;
  sMasterConfig.MasterSlaveMode = TIM_MASTERSLAVEMODE_DISABLE;
  if (HAL_TIMEx_MasterConfigSynchronization(&htim2, &sMasterConfig) != HAL_OK)
  {
    Error_Handler();
  }
  sConfigOC.OCMode = TIM_OCMODE_PWM1;
  sConfigOC.Pulse = 0;
  sConfigOC.OCPolarity = TIM_OCPOLARITY_HIGH;
  sConfigOC.OCFastMode = TIM_OCFAST_DISABLE;
  if (HAL_TIM_PWM_ConfigChannel(&htim2, &sConfigOC, TIM_CHANNEL_1) != HAL_OK)
  {
    Error_Handler();
  }
  HAL_TIM_MspPostInit(&htim2);

}

static void MX_TIM4_Init(void)
{

  TIM_Encoder_InitTypeDef sConfig = {0};
  TIM_MasterConfigTypeDef sMasterConfig = {0};

  htim4.Instance = TIM4;
  htim4.Init.Prescaler = 0;
  htim4.Init.CounterMode = TIM_COUNTERMODE_UP;
  htim4.Init.Period = 4294967295;
  htim4.Init.ClockDivision = TIM_CLOCKDIVISION_DIV1;
  htim4.Init.AutoReloadPreload = TIM_AUTORELOAD_PRELOAD_DISABLE;
  sConfig.EncoderMode = TIM_ENCODERMODE_X1_TI1;
  sConfig.IC1Polarity = TIM_ICPOLARITY_RISING;
  sConfig.IC1Selection = TIM_ICSELECTION_DIRECTTI;
  sConfig.IC1Prescaler = TIM_ICPSC_DIV1;
  sConfig.IC1Filter = 15;
  sConfig.IC2Polarity = TIM_ICPOLARITY_RISING;
  sConfig.IC2Selection = TIM_ICSELECTION_DIRECTTI;
  sConfig.IC2Prescaler = TIM_ICPSC_DIV1;
  sConfig.IC2Filter = 15;
  if (HAL_TIM_Encoder_Init(&htim4, &sConfig) != HAL_OK)
  {
    Error_Handler();
  }
  sMasterConfig.MasterOutputTrigger = TIM_TRGO_RESET;
  sMasterConfig.MasterSlaveMode = TIM_MASTERSLAVEMODE_DISABLE;
  if (HAL_TIMEx_MasterConfigSynchronization(&htim4, &sMasterConfig) != HAL_OK)
  {
    Error_Handler();
  }

}

static void MX_TIM5_Init(void)
{

  TIM_MasterConfigTypeDef sMasterConfig = {0};
  TIM_OC_InitTypeDef sConfigOC = {0};

  htim5.Instance = TIM5;
  htim5.Init.Prescaler = 0;
  htim5.Init.CounterMode = TIM_COUNTERMODE_UP;
  htim5.Init.Period = 4294967295;
  htim5.Init.ClockDivision = TIM_CLOCKDIVISION_DIV1;
  htim5.Init.AutoReloadPreload = TIM_AUTORELOAD_PRELOAD_DISABLE;
  if (HAL_TIM_PWM_Init(&htim5) != HAL_OK)
  {
    Error_Handler();
  }
  sMasterConfig.MasterOutputTrigger = TIM_TRGO_RESET;
  sMasterConfig.MasterSlaveMode = TIM_MASTERSLAVEMODE_DISABLE;
  if (HAL_TIMEx_MasterConfigSynchronization(&htim5, &sMasterConfig) != HAL_OK)
  {
    Error_Handler();
  }
  sConfigOC.OCMode = TIM_OCMODE_PWM1;
  sConfigOC.Pulse = 0;
  sConfigOC.OCPolarity = TIM_OCPOLARITY_HIGH;
  sConfigOC.OCFastMode = TIM_OCFAST_DISABLE;
  if (HAL_TIM_PWM_ConfigChannel(&htim5, &sConfigOC, TIM_CHANNEL_3) != HAL_OK)
  {
    Error_Handler();
  }
  HAL_TIM_MspPostInit(&htim5);

}

static void MX_TIM6_Init(void)
{

  TIM_MasterConfigTypeDef sMasterConfig = {0};

  htim6.Instance = TIM6;
  htim6.Init.Prescaler = 1600;
  htim6.Init.CounterMode = TIM_COUNTERMODE_UP;
  htim6.Init.Period = 100;
  htim6.Init.AutoReloadPreload = TIM_AUTORELOAD_PRELOAD_DISABLE;
  if (HAL_TIM_Base_Init(&htim6) != HAL_OK)
  {
    Error_Handler();
  }
  sMasterConfig.MasterOutputTrigger = TIM_TRGO_RESET;
  sMasterConfig.MasterSlaveMode = TIM_MASTERSLAVEMODE_DISABLE;
  if (HAL_TIMEx_MasterConfigSynchronization(&htim6, &sMasterConfig) != HAL_OK)
  {
    Error_Handler();
  }

}

static void MX_TIM7_Init(void)
{

  TIM_MasterConfigTypeDef sMasterConfig = {0};

  htim7.Instance = TIM7;
  htim7.Init.Prescaler = 1600;
  htim7.Init.CounterMode = TIM_COUNTERMODE_UP;
  htim7.Init.Period = 100;
  htim7.Init.AutoReloadPreload = TIM_AUTORELOAD_PRELOAD_DISABLE;
  if (HAL_TIM_Base_Init(&htim7) != HAL_OK)
  {
    Error_Handler();
  }
  sMasterConfig.MasterOutputTrigger = TIM_TRGO_RESET;
  sMasterConfig.MasterSlaveMode = TIM_MASTERSLAVEMODE_DISABLE;
  if (HAL_TIMEx_MasterConfigSynchronization(&htim7, &sMasterConfig) != HAL_OK)
  {
    Error_Handler();
  }

}

static void MX_TIM16_Init(void)
{

  TIM_OC_InitTypeDef sConfigOC = {0};
  TIM_BreakDeadTimeConfigTypeDef sBreakDeadTimeConfig = {0};

  htim16.Instance = TIM16;
  htim16.Init.Prescaler = 0;
  htim16.Init.CounterMode = TIM_COUNTERMODE_UP;
  htim16.Init.Period = 65535;
  htim16.Init.ClockDivision = TIM_CLOCKDIVISION_DIV1;
  htim16.Init.RepetitionCounter = 0;
  htim16.Init.AutoReloadPreload = TIM_AUTORELOAD_PRELOAD_DISABLE;
  if (HAL_TIM_Base_Init(&htim16) != HAL_OK)
  {
    Error_Handler();
  }
  if (HAL_TIM_PWM_Init(&htim16) != HAL_OK)
  {
    Error_Handler();
  }
  sConfigOC.OCMode = TIM_OCMODE_PWM1;
  sConfigOC.Pulse = 0;
  sConfigOC.OCPolarity = TIM_OCPOLARITY_HIGH;
  sConfigOC.OCNPolarity = TIM_OCNPOLARITY_HIGH;
  sConfigOC.OCFastMode = TIM_OCFAST_DISABLE;
  sConfigOC.OCIdleState = TIM_OCIDLESTATE_RESET;
  sConfigOC.OCNIdleState = TIM_OCNIDLESTATE_RESET;
  if (HAL_TIM_PWM_ConfigChannel(&htim16, &sConfigOC, TIM_CHANNEL_1) != HAL_OK)
  {
    Error_Handler();
  }
  sBreakDeadTimeConfig.OffStateRunMode = TIM_OSSR_DISABLE;
  sBreakDeadTimeConfig.OffStateIDLEMode = TIM_OSSI_DISABLE;
  sBreakDeadTimeConfig.LockLevel = TIM_LOCKLEVEL_OFF;
  sBreakDeadTimeConfig.DeadTime = 0;
  sBreakDeadTimeConfig.BreakState = TIM_BREAK_DISABLE;
  sBreakDeadTimeConfig.BreakPolarity = TIM_BREAKPOLARITY_HIGH;
  sBreakDeadTimeConfig.BreakFilter = 0;
  sBreakDeadTimeConfig.AutomaticOutput = TIM_AUTOMATICOUTPUT_DISABLE;
  if (HAL_TIMEx_ConfigBreakDeadTime(&htim16, &sBreakDeadTimeConfig) != HAL_OK)
  {
    Error_Handler();
  }
  HAL_TIM_MspPostInit(&htim16);

}

static void MX_USART1_UART_Init(void)
{

  huart1.Instance = USART1;
  huart1.Init.BaudRate = 115200;
  huart1.Init.WordLength = UART_WORDLENGTH_8B;
  huart1.Init.StopBits = UART_STOPBITS_1;
  huart1.Init.Parity = UART_PARITY_NONE;
  huart1.Init.Mode = UART_MODE_TX_RX;
  huart1.Init.HwFlowCtl = UART_HWCONTROL_NONE;
  huart1.Init.OverSampling = UART_OVERSAMPLING_16;
  huart1.Init.OneBitSampling = UART_ONE_BIT_SAMPLE_DISABLE;
  huart1.Init.ClockPrescaler = UART_PRESCALER_DIV1;
  huart1.AdvancedInit.AdvFeatureInit = UART_ADVFEATURE_NO_INIT;
  if (HAL_UART_Init(&huart1) != HAL_OK)
  {
    Error_Handler();
  }
  if (HAL_UARTEx_SetTxFifoThreshold(&huart1, UART_TXFIFO_THRESHOLD_1_8) != HAL_OK)
  {
    Error_Handler();
  }
  if (HAL_UARTEx_SetRxFifoThreshold(&huart1, UART_RXFIFO_THRESHOLD_1_8) != HAL_OK)
  {
    Error_Handler();
  }
  if (HAL_UARTEx_DisableFifoMode(&huart1) != HAL_OK)
  {
    Error_Handler();
  }

}

static void MX_USART3_UART_Init(void)
{

  huart3.Instance = USART3;
  huart3.Init.BaudRate = 115200;
  huart3.Init.WordLength = UART_WORDLENGTH_8B;
  huart3.Init.StopBits = UART_STOPBITS_1;
  huart3.Init.Parity = UART_PARITY_NONE;
  huart3.Init.Mode = UART_MODE_TX;
  huart3.Init.HwFlowCtl = UART_HWCONTROL_NONE;
  huart3.Init.OverSampling = UART_OVERSAMPLING_16;
  huart3.Init.OneBitSampling = UART_ONE_BIT_SAMPLE_DISABLE;
  huart3.Init.ClockPrescaler = UART_PRESCALER_DIV1;
  huart3.AdvancedInit.AdvFeatureInit = UART_ADVFEATURE_NO_INIT;
  if (HAL_HalfDuplex_Init(&huart3) != HAL_OK)
  {
    Error_Handler();
  }
  if (HAL_UARTEx_SetTxFifoThreshold(&huart3, UART_TXFIFO_THRESHOLD_1_8) != HAL_OK)
  {
    Error_Handler();
  }
  if (HAL_UARTEx_SetRxFifoThreshold(&huart3, UART_RXFIFO_THRESHOLD_1_8) != HAL_OK)
  {
    Error_Handler();
  }
  if (HAL_UARTEx_DisableFifoMode(&huart3) != HAL_OK)
  {
    Error_Handler();
  }

}

static void MX_USB_OTG_FS_HCD_Init(void)
{

  hhcd_USB_OTG_FS.Instance = USB_OTG_FS;
  hhcd_USB_OTG_FS.Init.Host_channels = 12;
  hhcd_USB_OTG_FS.Init.speed = HCD_SPEED_FULL;
  hhcd_USB_OTG_FS.Init.dma_enable = DISABLE;
  hhcd_USB_OTG_FS.Init.phy_itface = HCD_PHY_EMBEDDED;
  hhcd_USB_OTG_FS.Init.Sof_enable = DISABLE;
  hhcd_USB_OTG_FS.Init.vbus_sensing_enable = DISABLE;
  if (HAL_HCD_Init(&hhcd_USB_OTG_FS) != HAL_OK)
  {
    Error_Handler();
  }

}

static void MX_GPIO_Init(void)
{
  GPIO_InitTypeDef GPIO_InitStruct = {0};

  /* GPIO Ports Clock Enable */
  __HAL_RCC_GPIOC_CLK_ENABLE();
  __HAL_RCC_GPIOH_CLK_ENABLE();
  __HAL_RCC_GPIOA_CLK_ENABLE();
  __HAL_RCC_GPIOB_CLK_ENABLE();

  /*Configure GPIO pin Output Level */
  HAL_GPIO_WritePin(GPIOB, LCD_DC_Pin|STATUS_LED_Pin, GPIO_PIN_RESET);

  /*Configure GPIO pin Output Level */
  HAL_GPIO_WritePin(LCD_CS_GPIO_Port, LCD_CS_Pin, GPIO_PIN_SET);

  /*Configure GPIO pin Output Level */
  HAL_GPIO_WritePin(SPI_CS2_GPIO_Port, SPI_CS2_Pin, GPIO_PIN_SET);

  /*Configure GPIO pin Output Level */
  HAL_GPIO_WritePin(SPI_CS1_GPIO_Port, SPI_CS1_Pin, GPIO_PIN_SET);

  /*Configure GPIO pin : EF1_Pin */
  GPIO_InitStruct.Pin = EF1_Pin;
  GPIO_InitStruct.Mode = GPIO_MODE_IT_FALLING;
  GPIO_InitStruct.Pull = GPIO_PULLUP;
  HAL_GPIO_Init(EF1_GPIO_Port, &GPIO_InitStruct);

  /*Configure GPIO pin : EF2_Pin */
  GPIO_InitStruct.Pin = EF2_Pin;
  GPIO_InitStruct.Mode = GPIO_MODE_IT_FALLING;
  GPIO_InitStruct.Pull = GPIO_PULLUP;
  HAL_GPIO_Init(EF2_GPIO_Port, &GPIO_InitStruct);

  /*Configure GPIO pins : LCD_DC_Pin LCD_CS_Pin */
  GPIO_InitStruct.Pin = LCD_DC_Pin|LCD_CS_Pin;
  GPIO_InitStruct.Mode = GPIO_MODE_OUTPUT_PP;
  GPIO_InitStruct.Pull = GPIO_NOPULL;
  GPIO_InitStruct.Speed = GPIO_SPEED_FREQ_LOW;
  HAL_GPIO_Init(GPIOB, &GPIO_InitStruct);

  /*Configure GPIO pin : STATUS_LED_Pin */
  GPIO_InitStruct.Pin = STATUS_LED_Pin;
  GPIO_InitStruct.Mode = GPIO_MODE_OUTPUT_OD;
  GPIO_InitStruct.Pull = GPIO_NOPULL;
  GPIO_InitStruct.Speed = GPIO_SPEED_FREQ_LOW;
  HAL_GPIO_Init(STATUS_LED_GPIO_Port, &GPIO_InitStruct);

  /*Configure GPIO pins : BTN1_Pin BTN2_Pin */
  GPIO_InitStruct.Pin = BTN1_Pin|BTN2_Pin;
  GPIO_InitStruct.Mode = GPIO_MODE_IT_RISING;
  GPIO_InitStruct.Pull = GPIO_NOPULL;
  HAL_GPIO_Init(GPIOB, &GPIO_InitStruct);

  /*Configure GPIO pin : SPI_CS2_Pin */
  GPIO_InitStruct.Pin = SPI_CS2_Pin;
  GPIO_InitStruct.Mode = GPIO_MODE_OUTPUT_PP;
  GPIO_InitStruct.Pull = GPIO_NOPULL;
  GPIO_InitStruct.Speed = GPIO_SPEED_FREQ_LOW;
  HAL_GPIO_Init(SPI_CS2_GPIO_Port, &GPIO_InitStruct);

  /*Configure GPIO pin : SPI_CS1_Pin */
  GPIO_InitStruct.Pin = SPI_CS1_Pin;
  GPIO_InitStruct.Mode = GPIO_MODE_OUTPUT_PP;
  GPIO_InitStruct.Pull = GPIO_NOPULL;
  GPIO_InitStruct.Speed = GPIO_SPEED_FREQ_LOW;
  HAL_GPIO_Init(SPI_CS1_GPIO_Port, &GPIO_InitStruct);

  /* EXTI interrupt init*/
  HAL_NVIC_SetPriority(EXTI1_IRQn, 15, 0);
  HAL_NVIC_EnableIRQ(EXTI1_IRQn);

  HAL_NVIC_SetPriority(EXTI12_IRQn, 15, 0);
  HAL_NVIC_EnableIRQ(EXTI12_IRQn);

  HAL_NVIC_SetPriority(EXTI13_IRQn, 15, 0);
  HAL_NVIC_EnableIRQ(EXTI13_IRQn);

  HAL_NVIC_SetPriority(EXTI15_IRQn, 15, 0);
  HAL_NVIC_EnableIRQ(EXTI15_IRQn);

}

void Error_Handler(void)
{
  __disable_irq();
  while (1)
  {
  }
}
